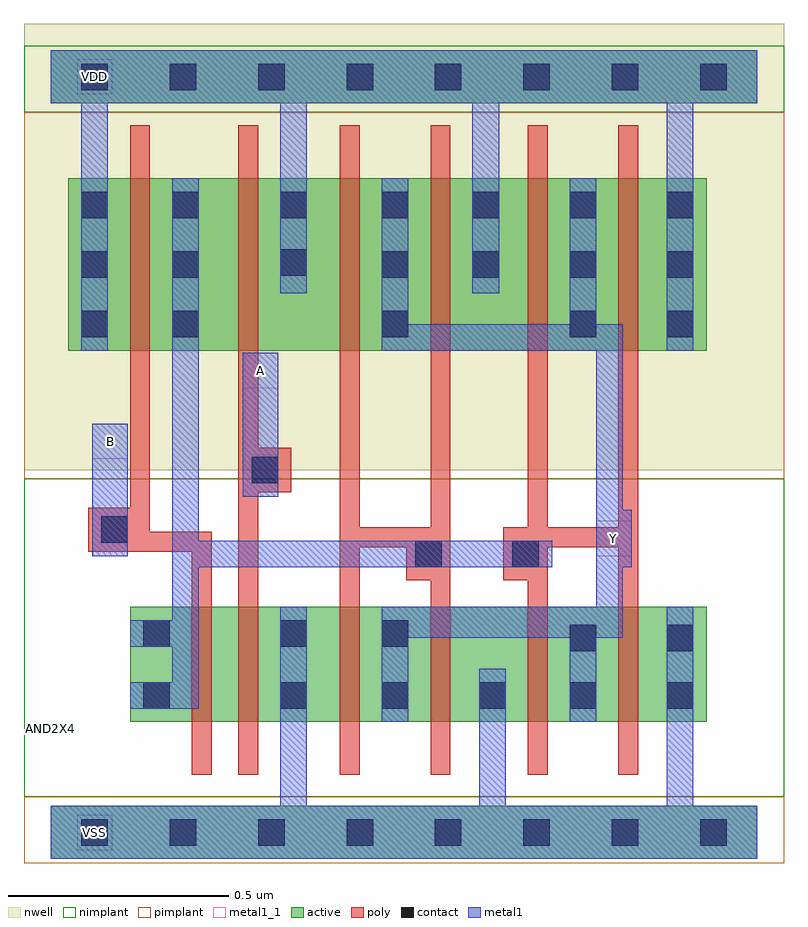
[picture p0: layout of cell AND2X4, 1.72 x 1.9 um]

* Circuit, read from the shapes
.subckt AND2X4 A B VDD VSS Y
M1 n1 B n2 VSS nfet w=0.26u l=0.045u
M2 VSS A n1 VSS nfet w=0.26u l=0.045u
M3 Y n2 VSS VSS nfet w=0.26u l=0.045u m=4
M4 n2 B VDD VDD pfet w=0.39u l=0.045u
M5 VDD A n2 VDD pfet w=0.39u l=0.045u
M6 Y n2 VDD VDD pfet w=0.39u l=0.045u m=4
.ends

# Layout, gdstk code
import gdstk
lib = gdstk.Library(unit=1e-6, precision=5e-10)
def R(c, l, rs):  # rectangles x0, y0, x1, y1
    for r in rs: c.add(gdstk.rectangle(r[:2], r[2:], *l))
def A(c, l, x, y, w, h, nx, ny, dx, dy):  # array of equal rectangles
    R(c, l, [(x+i*dx, y+j*dy, x+i*dx+w, y+j*dy+h) for i in range(nx) for j in range(ny)])
def P(c, l, *ps):  # polygons
    for p in ps: c.add(gdstk.Polygon(p, *l))
active = (1, 0)
nwell = (2, 0)
poly = (3, 0)
nimplant = (4, 0)
pimplant = (5, 0)
contact = (6, 0)
metal1 = (7, 0)
metal1_1 = (7, 1)

and2x4 = lib.new_cell('AND2X4')
R(and2x4, active, [(0,-0.06,1.6,0.06), (0.18,0.25,1.485,0.51), (0.04,1.09,1.485,1.48), (0,1.65,1.6,1.77)])
R(and2x4, nwell, [(-0.06,0.82,1.66,1.83)])
P(and2x4, poly, [(0.18,1.6),(0.225,1.6),(0.225,0.68),(0.365,0.68),(0.365,0.13),(0.32,0.13),(0.32,0.635),(0.085,0.635),(0.085,0.735),(0.18,0.735)],
  [(0.425,1.6),(0.47,1.6),(0.47,0.87),(0.545,0.87),(0.545,0.77),(0.47,0.77),(0.47,0.13),(0.425,0.13)],
  [(0.655,1.6),(0.7,1.6),(0.7,0.69),(0.86,0.69),(0.86,1.6),(0.905,1.6),(0.905,0.13),(0.86,0.13),(0.86,0.57),(0.805,0.57),(0.805,0.645),(0.7,0.645),(0.7,0.13),(0.655,0.13)],
  [(1.08,1.6),(1.125,1.6),(1.125,0.69),(1.285,0.69),(1.285,1.6),(1.33,1.6),(1.33,0.13),(1.285,0.13),(1.285,0.645),(1.125,0.645),(1.125,0.13),(1.08,0.13),(1.08,0.57),(1.025,0.57),(1.025,0.69),(1.08,0.69)])
R(and2x4, nimplant, [(-0.06,0.08,1.66,0.8), (-0.06,1.63,1.66,1.78)])
R(and2x4, pimplant, [(-0.06,-0.07,1.66,0.08), (-0.06,0.8,1.66,1.63)])
A(and2x4, contact, 0.07, -0.03, 0.06, 0.06, 8, 2, 0.2, 1.71)
A(and2x4, contact, 0.07, 1.12, 0.06, 0.06, 1, 3, 0, 0.135)
A(and2x4, contact, 0.275, 1.12, 0.06, 0.06, 1, 3, 0, 0.135)
A(and2x4, contact, 0.75, 1.12, 0.06, 0.06, 1, 3, 0, 0.135)
A(and2x4, contact, 0.955, 1.255, 0.06, 0.06, 3, 2, 0.22, 0.135)
R(and2x4, contact, [(0.21,0.28,0.27,0.34), (0.52,0.28,0.58,0.34), (0.75,0.28,0.81,0.34), (0.97,0.28,1.03,0.34), (1.175,0.28,1.235,0.34), (1.395,0.28,1.455,0.34), (1.175,0.41,1.235,0.47), (1.395,0.41,1.455,0.47), (0.21,0.42,0.27,0.48), (0.52,0.42,0.58,0.48), (0.75,0.42,0.81,0.48), (0.825,0.6,0.885,0.66), (1.045,0.6,1.105,0.66), (0.115,0.655,0.175,0.715), (0.455,0.79,0.515,0.85), (1.175,1.12,1.235,1.18), (1.395,1.12,1.455,1.18), (0.52,1.26,0.58,1.32), (0.52,1.39,0.58,1.45)])
R(and2x4, metal1, [(0.18,0.28,0.315,0.34), (0.275,0.28,0.335,0.475), (0.095,0.625,0.175,0.925), (0.435,0.76,0.515,1.085)])
P(and2x4, metal1, [(0,1.77),(1.6,1.77),(1.6,1.65),(1.455,1.65),(1.455,1.09),(1.395,1.09),(1.395,1.65),(1.015,1.65),(1.015,1.22),(0.955,1.22),(0.955,1.65),(0.58,1.65),(0.58,1.22),(0.52,1.22),(0.52,1.65),(0.13,1.65),(0.13,1.09),(0.07,1.09),(0.07,1.65),(0,1.65)],
  [(0.275,1.48),(0.335,1.48),(0.335,0.66),(1.135,0.66),(1.135,0.6),(0.335,0.6),(0.335,0.42),(0.18,0.42),(0.18,0.48),(0.275,0.48)],
  [(0.75,1.48),(0.81,1.48),(0.81,1.15),(1.175,1.15),(1.175,1.48),(1.235,1.48),(1.235,1.15),(1.295,1.15),(1.295,0.73),(1.315,0.73),(1.315,0.6),(1.295,0.6),(1.295,0.44),(1.235,0.44),(1.235,0.25),(1.175,0.25),(1.175,0.44),(0.81,0.44),(0.81,0.25),(0.75,0.25),(0.75,0.51),(1.235,0.51),(1.235,1.09),(0.75,1.09)],
  [(0.52,0.51),(0.58,0.51),(0.58,0.06),(0.97,0.06),(0.97,0.37),(1.03,0.37),(1.03,0.06),(1.395,0.06),(1.395,0.51),(1.455,0.51),(1.455,0.06),(1.6,0.06),(1.6,-0.06),(0,-0.06),(0,0.06),(0.52,0.06)])
R(and2x4, metal1_1, [(0.06,-0.04,0.14,0.04), (1.235,0.625,1.315,0.705), (0.095,0.845,0.175,0.925), (0.435,1.005,0.515,1.085), (0.06,1.67,0.14,1.75)])
and2x4.add(gdstk.Label('VSS', (0.1,0), layer=7, texttype=1))
and2x4.add(gdstk.Label('B', (0.135,0.885), layer=7, texttype=1))
and2x4.add(gdstk.Label('Y', (1.275,0.665), layer=7, texttype=1))
and2x4.add(gdstk.Label('A', (0.475,1.045), layer=7, texttype=1))
and2x4.add(gdstk.Label('VDD', (0.1,1.71), layer=7, texttype=1))
and2x4.add(gdstk.Label('AND2X4', (0,0.235), layer=63, texttype=0))

lib.write_gds('AND2X4.gds')
